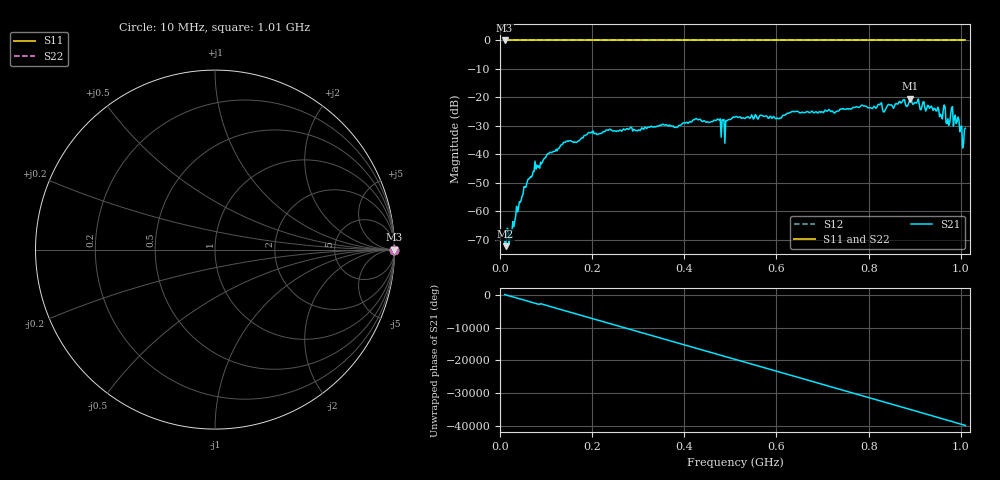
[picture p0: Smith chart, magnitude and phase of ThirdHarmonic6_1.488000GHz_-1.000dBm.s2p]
! 8/16/2025 5:25:39 PM
! C:\ANRITSUVNA\TEMP\TEMP.S2P
! CHANNEL.1
! TR.MEASUREMENT
! RAW.DATA
! RF.CORRECTION.OFF
! AVERAGING.OFF
! IF.BANDWIDTH: 5KHZ
! SWEEPTYPE:  FREQ.SWEEP(Linear)
! Reference Plane Port Info
! PORT:  PORT1  PORT2
! DISTANCE:  0  m  0  m
! TIME:  0  s  0  s
! PHASE.OFFSET:  0  deg.  0  deg.
! LOSS:  0  dB  0  dB
! REF.LOSS:  0  dB  0  dB
! REF.FREQ:  0  Hz  0  Hz
! Power Info
! POWER:  -20  dBm  -20  dBm
! EFF.POWER:  -20  dBm  -20  dBm
! SOURCE.ATTEN:  0  dB  0  dB
! TEST.ATTEN:  0  dB  0  dB
# GHZ S RI R 50.0
! FREQ.GHZ  S11RE  S11IM  S21RE  S21IM  S12RE  S12IM  S22RE  S22IM
!; PortSelection: Port_12
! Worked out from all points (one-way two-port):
!   501 points, 10 MHz to 1.01 GHz, reference 50 ohm
!   highest |S21| = -20.45 dB at 890 MHz (marker M1); lowest = -72.3 dB at 12 MHz (marker M2)
!   lowest |S11| = 0.0 dB at 10 MHz (marker M3)
!   |S11| at or under -10 dB: nowhere
!   |S22| runs from 0.0 to 0.0 dB; largest |S21 - S12| = 1.1
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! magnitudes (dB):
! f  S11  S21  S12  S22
! 10 MHz  0.0  -70.7  0.0  0.0
! 12 MHz  0.0  -72.3  0.0  0.0
! 24 MHz  0.0  -67.5  0.0  0.0
! 56 MHz  0.0  -51.6  0.0  0.0
! 76 MHz  0.0  -42.4  0.0  0.0
! 142 MHz  0.0  -35.7  0.0  0.0
! 178 MHz  0.0  -34.1  0.0  0.0
! 344 MHz  0.0  -30.1  0.0  0.0
! 474 MHz  0.0  -27.8  0.0  0.0
! 484 MHz  0.0  -27.9  0.0  0.0
! 510 MHz  0.0  -26.9  0.0  0.0
! 678 MHz  0.0  -24.9  0.0  0.0
! 824 MHz  0.0  -22.6  0.0  0.0
! 834 MHz  0.0  -25.0  0.0  0.0
! 844 MHz  0.0  -22.5  0.0  0.0
! 890 MHz  0.0  -20.4  0.0  0.0
! 962 MHz  0.0  -24.2  0.0  0.0
! 972 MHz  0.0  -27.5  0.0  0.0
! 984 MHz  0.0  -30.1  0.0  0.0
! 998 MHz  0.0  -32.1  0.0  0.0
! 1.002 GHz  0.0  -30.1  0.0  0.0
! 1.01 GHz  0.0  -30.8  0.0  0.0
